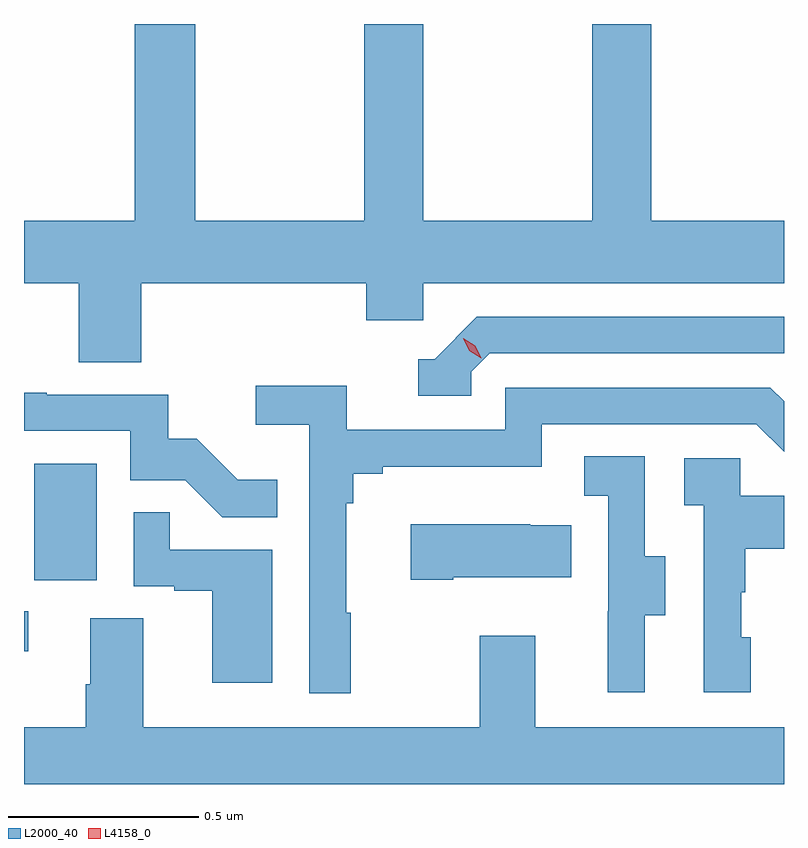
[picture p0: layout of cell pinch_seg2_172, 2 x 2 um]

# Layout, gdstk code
import gdstk
lib = gdstk.Library(unit=1e-6, precision=1e-09)
def R(c, l, rs):  # rectangles x0, y0, x1, y1
    for r in rs: c.add(gdstk.rectangle(r[:2], r[2:], *l))
def P(c, l, *ps):  # polygons
    for p in ps: c.add(gdstk.Polygon(p, *l))
L2000_40 = (2000, 40)
L4158_0 = (4158, 0)

pinch_seg2_172 = lib.new_cell('pinch_seg2_172')
R(pinch_seg2_172, L2000_40, [(1089.257,625.356,1089.268,625.461), (1089.284,625.542,1089.448,625.849)])
P(pinch_seg2_172, L2000_40, [(1089.566,626.324),(1090.157,626.324),(1090.157,626.226),(1090.308,626.226),(1090.308,626.324),(1091.257,626.324),(1091.257,626.488),(1090.908,626.488),(1090.908,627.006),(1090.753,627.006),(1090.753,626.488),(1090.308,626.488),(1090.308,627.006),(1090.153,627.006),(1090.153,626.488),(1089.708,626.488),(1089.708,627.006),(1089.548,627.006),(1089.548,626.488),(1089.257,626.488),(1089.257,626.324),(1089.401,626.324),(1089.401,626.116),(1089.566,626.116)],
  [(1090.434,626.091),(1090.482,626.139),(1091.257,626.139),(1091.257,626.235),(1090.449,626.235),(1090.338,626.124),(1090.295,626.124),(1090.295,626.028),(1090.434,626.028)],
  [(1090.117,625.457),(1090.105,625.457),(1090.105,625.745),(1090.124,625.745),(1090.124,625.822),(1090.201,625.822),(1090.201,625.841),(1090.62,625.841),(1090.62,625.953),(1091.184,625.953),(1091.257,625.88),(1091.257,626.013),(1091.221,626.049),(1090.524,626.049),(1090.524,625.938),(1090.106,625.938),(1090.106,626.054),(1089.867,626.054),(1089.867,625.952),(1090.008,625.952),(1090.008,625.245),(1090.117,625.245)],
  [(1089.923,625.807),(1089.819,625.807),(1089.712,625.914),(1089.636,625.914),(1089.636,626.031),(1089.317,626.031),(1089.317,626.036),(1089.257,626.036),(1089.257,625.935),(1089.537,625.935),(1089.537,625.806),(1089.681,625.806),(1089.779,625.708),(1089.923,625.708)],
  [(1090.891,625.45),(1090.945,625.45),(1090.945,625.605),(1090.89,625.605),(1090.89,625.868),(1090.731,625.868),(1090.731,625.765),(1090.794,625.765),(1090.794,625.461),(1090.793,625.461),(1090.793,625.248),(1090.891,625.248)],
  [(1091.17,625.392),(1091.145,625.392),(1091.145,625.511),(1091.155,625.511),(1091.155,625.625),(1091.257,625.625),(1091.257,625.765),(1091.142,625.765),(1091.142,625.863),(1090.995,625.863),(1090.995,625.739),(1091.046,625.739),(1091.046,625.248),(1091.17,625.248)],
  [(1089.91,625.623),(1089.641,625.623),(1089.641,625.721),(1089.546,625.721),(1089.546,625.527),(1089.653,625.527),(1089.653,625.515),(1089.752,625.515),(1089.752,625.272),(1089.91,625.272)],
  [(1090.387,625.55),(1090.697,625.55),(1090.697,625.687),(1090.589,625.687),(1090.589,625.69),(1090.275,625.69),(1090.275,625.543),(1090.387,625.543)],
  [(1091.257,625.156),(1090.603,625.156),(1090.603,625.396),(1090.456,625.396),(1090.456,625.156),(1089.571,625.156),(1089.571,625.442),(1089.431,625.442),(1089.431,625.268),(1089.419,625.268),(1089.419,625.156),(1089.257,625.156),(1089.257,625.006),(1091.257,625.006)])
P(pinch_seg2_172, L4158_0, [(1090.46,626.126),(1090.429,626.146),(1090.413,626.178),(1090.413,626.179),(1090.413,626.179),(1090.444,626.159),(1090.46,626.127),(1090.46,626.126)])

lib.write_gds('pinch_seg2_172.gds')
